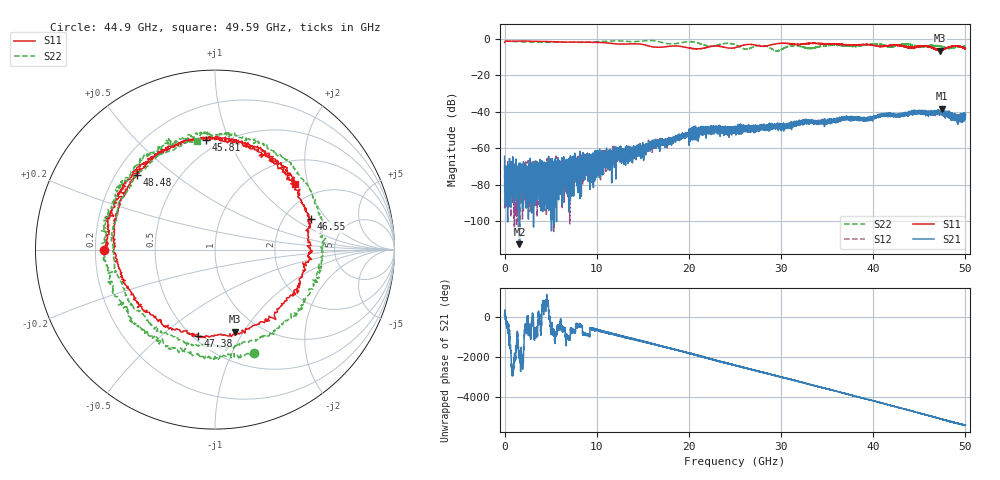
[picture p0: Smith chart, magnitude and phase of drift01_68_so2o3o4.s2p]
!Created with skrf (http://scikit-rf.org).
# Hz S RI R 50.0
!freq ReS11 ImS11 ReS21 ImS21 ReS12 ImS12 ReS22 ImS22
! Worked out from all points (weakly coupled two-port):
!   10001 points, 300 kHz to 50 GHz, reference 50 ohm
!   highest |S21| = -38.35 dB at 47.42 GHz (marker M1); lowest = -112.6 dB at 1.61 GHz (marker M2)
!   lowest |S11| = -6.5 dB at 47.2 GHz (marker M3), VSWR 2.78, Z = 39.1 - j45.9 ohm
!   |S11| at or under -10 dB: nowhere
!   |S22| runs from -6.8 to -1.0 dB; largest |S21 - S12| = 0.004
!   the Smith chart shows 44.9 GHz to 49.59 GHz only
!   S11 on the Smith chart (normalised r, x): 44.9 GHz: 0.23, -0.00; 45.81 GHz: 0.42, +0.83; 46.55 GHz: 2.80, +1.38; 47.38 GHz: 0.53, -0.67; 48.48 GHz: 0.29, +0.37; 49.59 GHz: 1.52, +1.67
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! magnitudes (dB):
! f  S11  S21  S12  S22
! 300 kHz  -2.1  -64.4  -69.6  -1.3
! 255.3 MHz  -1.4  -81.5  -76.1  -1.4
! 1.61 GHz  -1.4  -112.6  -75.2  -1.8
! 6.34 GHz  -1.9  -66.7  -75.6  -1.9
! 8.335 GHz  -1.9  -64.3  -64.8  -2.1
! 16.67 GHz  -4.8  -55.7  -58.4  -1.6
! 21.45 GHz  -5.4  -50.8  -50.5  -3.1
! 25 GHz  -5.0  -51.8  -49.5  -3.4
! 28.09 GHz  -4.2  -50.0  -49.0  -3.8
! 29.54 GHz  -2.8  -47.8  -46.9  -6.7
! 31.27 GHz  -3.0  -46.8  -46.1  -4.0
! 33.34 GHz  -2.6  -45.7  -45.6  -5.3
! 41.67 GHz  -3.9  -41.6  -41.6  -4.4
! 44.9 GHz  -4.2  -40.0  -40.3  -4.2
! 45.81 GHz  -4.3  -40.1  -41.2  -4.3
! 46.55 GHz  -5.0  -39.8  -40.8  -3.8
! 47.2 GHz  -6.5  -41.5  -40.4  -4.1
! 47.38 GHz  -6.2  -41.2  -40.5  -4.3
! 47.42 GHz  -6.1  -38.4  -40.4  -4.5
! 48.48 GHz  -4.4  -42.6  -41.3  -5.3
! 49.59 GHz  -4.8  -44.1  -43.3  -4.3
! 50 GHz  -5.4  -41.7  -43.4  -4.3
